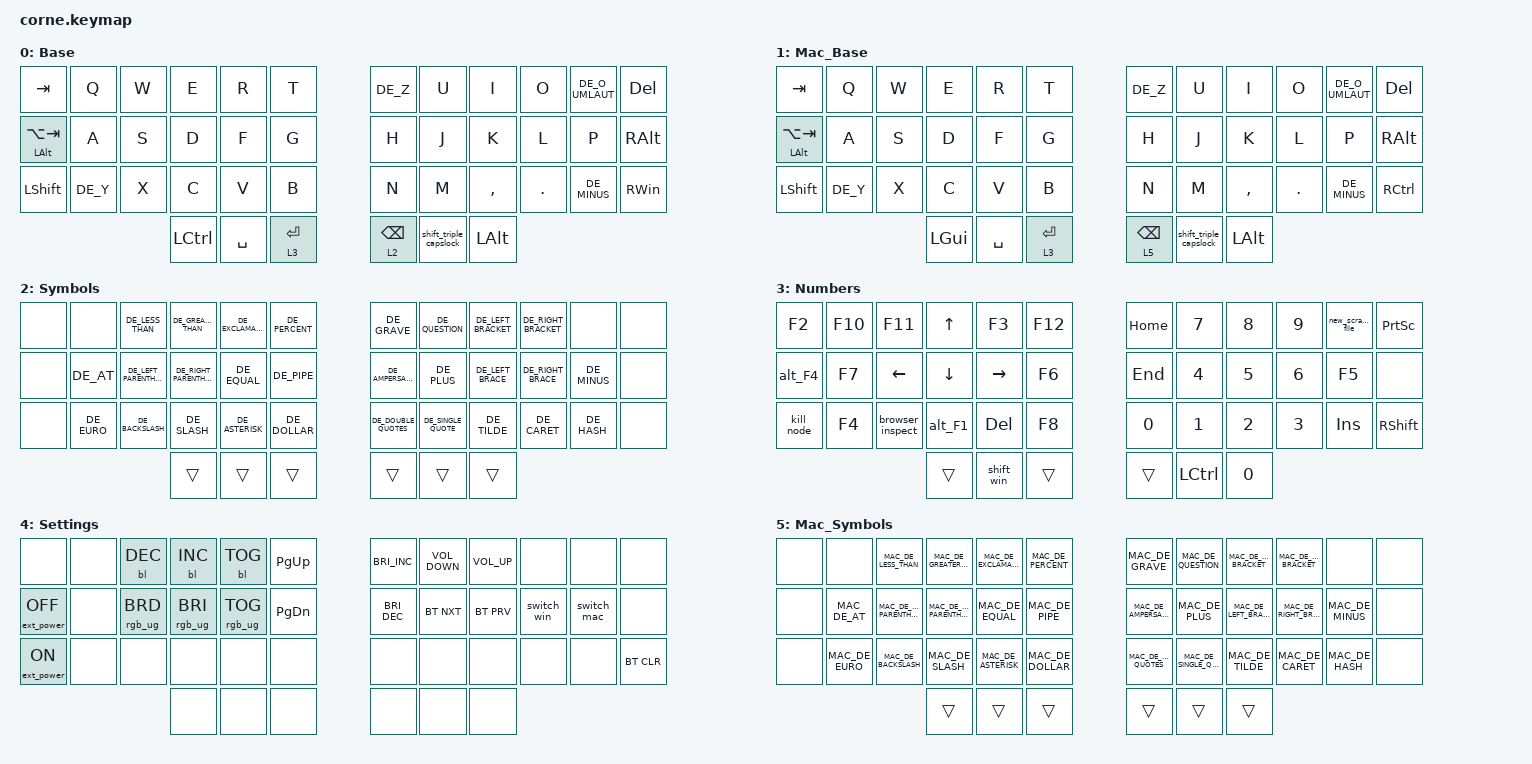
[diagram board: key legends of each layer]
/*
 * Copyright (c) 2020 The ZMK Contributors
 *
 * SPDX-License-Identifier: MIT
 */

#include "keys_de.h"
#include "keys_mac_de_at.h"
#include <behaviors.dtsi>
#include <dt-bindings/zmk/backlight.h>
#include <dt-bindings/zmk/bt.h>
#include <dt-bindings/zmk/ext_power.h>
#include <dt-bindings/zmk/keys.h>
#include <dt-bindings/zmk/rgb.h>

&led_strip { chain-length = <6>; };

&nice_view_spi { cs-gpios = <&pro_micro 0 GPIO_ACTIVE_HIGH>; };

&lt { flavor = "hold-preferred"; };

/ {
    combos {
        compatible = "zmk,combos";

        ESC_KL {
            bindings = <&kp ESC>;
            key-positions = <20 21>;
        };

        UE {
            bindings = <&kp DE_U_UMLAUT>;
            key-positions = <3 7>;
        };

        AE {
            bindings = <&kp DE_A_UMLAUT>;
            key-positions = <13 3>;
        };

        OE {
            bindings = <&kp DE_O_UMLAUT>;
            key-positions = <3 9>;
        };

        SS {
            bindings = <&kp DE_SZ>;
            key-positions = <14 19>;
        };

        Tab_DF {
            bindings = <&kp TAB>;
            key-positions = <15 16>;
        };

        GUI_SDF {
            bindings = <&kp LEFT_GUI>;
            key-positions = <14 15 16>;
        };

        ESC_SD {
            bindings = <&kp ESCAPE>;
            key-positions = <14 15>;
        };

        DEL_AF {
            bindings = <&kp DELETE>;
            key-positions = <13 16>;
        };

        CTRL_JL {
            bindings = <&kp RCTRL>;
            key-positions = <21 19>;
            layers = <0>;
        };

        CMD_JL {
            bindings = <&kp LEFT_GUI>;
            key-positions = <21 19>;
            layers = <1>;
        };

        GUI_JKL {
            bindings = <&kp LEFT_GUI>;
            key-positions = <19 20 21>;
        };

        new_ai_chat {
            bindings = <&new_ai_chat>;
            key-positions = <31 32>;
        };
    };

    macros {
        shift_win: shift_win {
            compatible = "zmk,behavior-macro";
            #binding-cells = <0>;
            bindings = <&macro_press>, <&kp LS(LEFT_WIN)>;

            label = "SHIFT_WIN";
        };

        kill_node: kill_node {
            compatible = "zmk,behavior-macro";
            #binding-cells = <0>;
            bindings = <&kp LA(LS(LC(C)))>;
            label = "KILL_NODE";
        };

        alt_F1: find_file_in_explorer {
            compatible = "zmk,behavior-macro";
            #binding-cells = <0>;
            bindings = <&kp LA(F1)>;
            label = "FIND_FILE_IN_EXPLORER";
        };

        alt_F4: alt_F4 {
            compatible = "zmk,behavior-macro";
            #binding-cells = <0>;
            bindings = <&kp LA(F4)>;
            label = "ALT_F4";
        };

        browser_inspect: browser_inspect {
            compatible = "zmk,behavior-macro";
            #binding-cells = <0>;
            bindings = <&kp LS(LC(C))>;
            label = "BROWSER_INSPECT";
        };

        new_ai_chat: new_ai_chat {
            compatible = "zmk,behavior-macro";
            #binding-cells = <0>;
            bindings =
                <&kp LA(I)>,
                <&macro_pause_for_release>,
                <&kp LA(INSERT)>;

            label = "NEW_AI_CHAT";
        };

        new_scratch_file: new_scratch_file {
            compatible = "zmk,behavior-macro";
            #binding-cells = <0>;
            bindings = <&kp LS(LA(LC(INSERT)))>;
            label = "NEW_SCRATCH_FILE";
        };

        switch_mac: switch_mac {
            compatible = "zmk,behavior-macro";
            #binding-cells = <0>;
            /* ZMK profiles are zero-indexed: BT_SEL 1 is displayed profile 2. */
            bindings = <&bt BT_SEL 1>, <&to 1>;
            label = "SWITCH_MAC";
        };

        switch_win: switch_win {
            compatible = "zmk,behavior-macro";
            #binding-cells = <0>;
            /* ZMK profiles are zero-indexed: BT_SEL 2 is displayed profile 3. */
            bindings = <&bt BT_SEL 2>, <&to 0>;
            label = "SWITCH_WIN";
        };
    };

    behaviors {
        shift_triple_capslock: shift_triple_capslock {
            compatible = "zmk,behavior-tap-dance";
            label = "SHIFT_TRIPLE_CAPSLOCK";
            #binding-cells = <0>;
            bindings = <&kp LSHIFT>, <&kp LSHIFT>, <&kp CAPS>;
        };
    };

    keymap {
        compatible = "zmk,keymap";

        Base {
            bindings = <
&kp TAB               &kp Q     &kp W  &kp E      &kp R      &kp T          &kp DE_Z         &kp U                   &kp I         &kp O       &kp DE_O_UMLAUT  &kp DEL
&mt LEFT_ALT LA(TAB)  &kp A     &kp S  &kp D      &kp F      &kp G          &kp H            &kp J                   &kp K         &kp L       &kp P            &kp RIGHT_ALT
&kp LEFT_SHIFT        &kp DE_Y  &kp X  &kp C      &kp V      &kp B          &kp N            &kp M                   &kp COMMA     &kp PERIOD  &kp DE_MINUS     &kp RIGHT_WIN
                                       &kp LCTRL  &kp SPACE  &lt 3 ENTER    &lt 2 BACKSPACE  &shift_triple_capslock  &kp LEFT_ALT
            >;
        };

        Mac_Base {
            bindings = <
&kp TAB               &kp Q     &kp W  &kp E      &kp R      &kp T          &kp DE_Z         &kp U                   &kp I         &kp O       &kp DE_O_UMLAUT  &kp DEL
&mt LEFT_ALT LA(TAB)  &kp A     &kp S  &kp D      &kp F      &kp G          &kp H            &kp J                   &kp K         &kp L       &kp P            &kp RIGHT_ALT
&kp LEFT_SHIFT        &kp DE_Y  &kp X  &kp C      &kp V      &kp B          &kp N            &kp M                   &kp COMMA     &kp PERIOD  &kp DE_MINUS     &kp RCTRL
                                       &kp LEFT_GUI  &kp SPACE  &lt 3 ENTER    &lt 5 BACKSPACE  &shift_triple_capslock  &kp LEFT_ALT
            >;
        };

        Symbols {
            bindings = <
&none  &none        &kp DE_LESS_THAN         &kp DE_GREATER_THAN       &kp DE_EXCLAMATION  &kp DE_PERCENT    &kp DE_GRAVE          &kp DE_QUESTION      &kp DE_LEFT_BRACKET  &kp DE_RIGHT_BRACKET  &none         &none
&none  &kp DE_AT    &kp DE_LEFT_PARENTHESIS  &kp DE_RIGHT_PARENTHESIS  &kp DE_EQUAL        &kp DE_PIPE       &kp DE_AMPERSAND      &kp DE_PLUS          &kp DE_LEFT_BRACE    &kp DE_RIGHT_BRACE    &kp DE_MINUS  &none
&none  &kp DE_EURO  &kp DE_BACKSLASH         &kp DE_SLASH              &kp DE_ASTERISK     &kp DE_DOLLAR     &kp DE_DOUBLE_QUOTES  &kp DE_SINGLE_QUOTE  &kp DE_TILDE         &kp DE_CARET          &kp DE_HASH   &none
                                             &trans                    &trans              &trans            &trans                &trans               &trans
            >;
        };

        Numbers {
            bindings = <
&kp F2      &kp F10  &kp F11           &kp UP    &kp F3      &kp F12    &kp HOME  &kp NUMBER_7  &kp NUMBER_8  &kp NUMBER_9  &new_scratch_file  &kp PRINTSCREEN
&alt_F4     &kp F7   &kp LEFT          &kp DOWN  &kp RIGHT   &kp F6     &kp END   &kp NUMBER_4  &kp N5        &kp NUMBER_6  &kp F5             &none
&kill_node  &kp F4   &browser_inspect  &alt_F1   &kp DELETE  &kp F8     &kp N0    &kp NUMBER_1  &kp NUMBER_2  &kp NUMBER_3  &kp INSERT         &kp RSHIFT
                                       &trans    &shift_win  &trans     &trans    &kp LCTRL     &kp NUMBER_0
            >;
        };

        Settings {
            bindings = <
&none              &none  &bl BL_DEC       &bl BL_INC       &bl BL_TOG       &kp PAGE_UP      &kp C_BRIGHTNESS_INC  &kp C_VOLUME_DOWN  &kp C_VOLUME_UP  &none        &none        &none
&ext_power EP_OFF  &none  &rgb_ug RGB_BRD  &rgb_ug RGB_BRI  &rgb_ug RGB_TOG  &kp PAGE_DOWN    &kp C_BRIGHTNESS_DEC  &bt BT_NXT         &bt BT_PRV       &switch_win  &switch_mac  &none
&ext_power EP_ON   &none  &none            &none            &none            &none            &none                 &none              &none            &none        &none        &bt BT_CLR
                                           &none            &none            &none            &none                 &none              &none
            >;
        };

        Mac_Symbols {
            bindings = <
&none  &none           &kp MAC_DE_LESS_THAN         &kp MAC_DE_GREATER_THAN       &kp MAC_DE_EXCLAMATION  &kp MAC_DE_PERCENT    &kp MAC_DE_GRAVE         &kp MAC_DE_QUESTION      &kp MAC_DE_LEFT_BRACKET  &kp MAC_DE_RIGHT_BRACKET  &none          &none
&none  &kp MAC_DE_AT   &kp MAC_DE_LEFT_PARENTHESIS  &kp MAC_DE_RIGHT_PARENTHESIS  &kp MAC_DE_EQUAL        &kp MAC_DE_PIPE       &kp MAC_DE_AMPERSAND     &kp MAC_DE_PLUS          &kp MAC_DE_LEFT_BRACE    &kp MAC_DE_RIGHT_BRACE    &kp MAC_DE_MINUS  &none
&none  &kp MAC_DE_EURO &kp MAC_DE_BACKSLASH         &kp MAC_DE_SLASH              &kp MAC_DE_ASTERISK     &kp MAC_DE_DOLLAR     &kp MAC_DE_DOUBLE_QUOTES &kp MAC_DE_SINGLE_QUOTE  &kp MAC_DE_TILDE         &kp MAC_DE_CARET          &kp MAC_DE_HASH   &none
                                                 &trans                         &trans                  &trans                &trans                   &trans                   &trans
            >;
        };
    };

    conditional_layers {
        compatible = "zmk,conditional-layers";

        Func_layer {
            if-layers = <2 3>;
            then-layer = <4>;
        };

        Mac_Func_layer {
            if-layers = <5 3>;
            then-layer = <4>;
        };
    };
};
